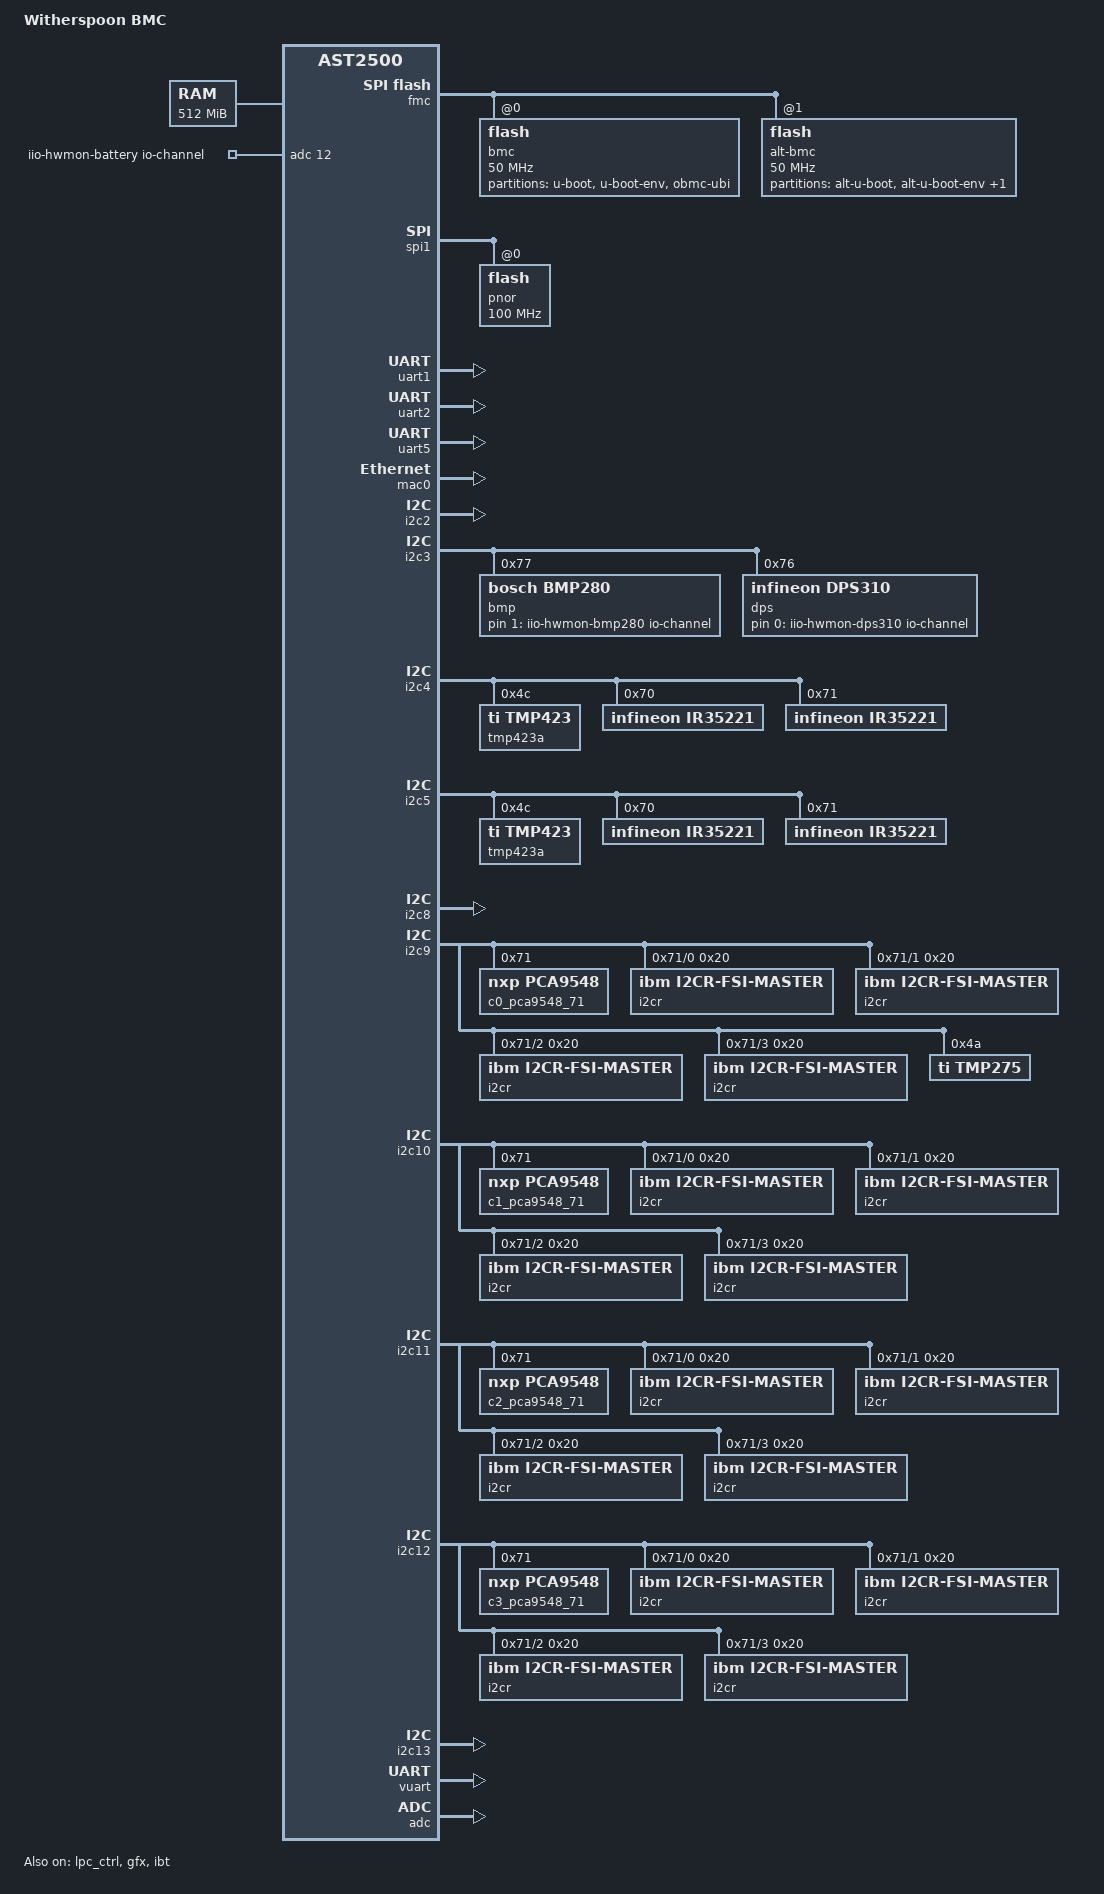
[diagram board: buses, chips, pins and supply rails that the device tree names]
// SPDX-License-Identifier: GPL-2.0+
/dts-v1/;
#include "aspeed-g5.dtsi"
#include <dt-bindings/gpio/aspeed-gpio.h>
#include <dt-bindings/leds/leds-pca955x.h>

/ {
	model = "Witherspoon BMC";
	compatible = "ibm,witherspoon-bmc", "aspeed,ast2500";

	aliases {
		i2c90 = &c0_pca9548_71_c0;
		i2c91 = &c0_pca9548_71_c1;
		i2c92 = &c0_pca9548_71_c2;
		i2c93 = &c0_pca9548_71_c3;
		i2c94 = &c0_pca9548_71_c4;
		i2c95 = &c0_pca9548_71_c5;
		i2c96 = &c0_pca9548_71_c6;
		i2c97 = &c0_pca9548_71_c7;

		i2c100 = &c1_pca9548_71_c0;
		i2c101 = &c1_pca9548_71_c1;
		i2c102 = &c1_pca9548_71_c2;
		i2c103 = &c1_pca9548_71_c3;
		i2c104 = &c1_pca9548_71_c4;
		i2c105 = &c1_pca9548_71_c5;
		i2c106 = &c1_pca9548_71_c6;
		i2c107 = &c1_pca9548_71_c7;

		i2c110 = &c2_pca9548_71_c0;
		i2c111 = &c2_pca9548_71_c1;
		i2c112 = &c2_pca9548_71_c2;
		i2c113 = &c2_pca9548_71_c3;
		i2c114 = &c2_pca9548_71_c4;
		i2c115 = &c2_pca9548_71_c5;
		i2c116 = &c2_pca9548_71_c6;
		i2c117 = &c2_pca9548_71_c7;

		i2c120 = &c3_pca9548_71_c0;
		i2c121 = &c3_pca9548_71_c1;
		i2c122 = &c3_pca9548_71_c2;
		i2c123 = &c3_pca9548_71_c3;
		i2c124 = &c3_pca9548_71_c4;
		i2c125 = &c3_pca9548_71_c5;
		i2c126 = &c3_pca9548_71_c6;
		i2c127 = &c3_pca9548_71_c7;

		scom90 = &scom90;
		scom91 = &scom91;
		scom92 = &scom92;
		scom93 = &scom93;
		scom100 = &scom100;
		scom101 = &scom101;
		scom102 = &scom102;
		scom103 = &scom103;
		scom110 = &scom110;
		scom111 = &scom111;
		scom112 = &scom112;
		scom113 = &scom113;
		scom120 = &scom120;
		scom121 = &scom121;
		scom122 = &scom122;
		scom123 = &scom123;

		sbefifo90 = &sbefifo90;
		sbefifo91 = &sbefifo91;
		sbefifo92 = &sbefifo92;
		sbefifo93 = &sbefifo93;
		sbefifo100 = &sbefifo100;
		sbefifo101 = &sbefifo101;
		sbefifo102 = &sbefifo102;
		sbefifo103 = &sbefifo103;
		sbefifo110 = &sbefifo110;
		sbefifo111 = &sbefifo111;
		sbefifo112 = &sbefifo112;
		sbefifo113 = &sbefifo113;
		sbefifo120 = &sbefifo120;
		sbefifo121 = &sbefifo121;
		sbefifo122 = &sbefifo122;
		sbefifo123 = &sbefifo123;
	};

	chosen {
		stdout-path = &uart5;
		bootargs = "console=ttyS4,115200 earlycon";
	};

	memory@80000000 {
		reg = <0x80000000 0x20000000>;
	};

	reserved-memory {
		#address-cells = <1>;
		#size-cells = <1>;
		ranges;

		flash_memory: region@98000000 {
			no-map;
			reg = <0x98000000 0x04000000>; /* 64M */
		};

		vga_memory: region@9f000000 {
			no-map;
			compatible = "shared-dma-pool";
			reg = <0x9f000000 0x01000000>; /* 16M */
		};

		gfx_memory: framebuffer {
			size = <0x01000000>;
			alignment = <0x01000000>;
			compatible = "shared-dma-pool";
			reusable;
		};

		video_engine_memory: jpegbuffer {
			size = <0x02000000>;	/* 32MM */
			alignment = <0x01000000>;
			compatible = "shared-dma-pool";
			reusable;
		};
	};

	iio-hwmon-battery {
		compatible = "iio-hwmon";
		io-channels = <&adc 12>;
	};

	iio-hwmon-dps310 {
		compatible = "iio-hwmon";
		io-channels = <&dps 0>;
	};

	iio-hwmon-bmp280 {
		compatible = "iio-hwmon";
		io-channels = <&bmp 1>;
	};

};

&gpio {
	gpio-line-names =
	/*A0-A7*/	"","cfam-reset","","","","","fsi-mux","",
	/*B0-B7*/	"","","","","","air-water","","",
	/*C0-C7*/	"","","","","","","","",
	/*D0-D7*/	"fsi-enable","","","","","","","",
	/*E0-E7*/	"fsi-data","","","","","","","",
	/*F0-F7*/	"","","","","","","","",
	/*G0-G7*/	"","","","","","","","",
	/*H0-H7*/	"","","","","","","","",
	/*I0-I7*/	"","","","","","","","",
	/*J0-J7*/	"","","checkstop","","","","","",
	/*K0-K7*/	"","","","","","","","",
	/*L0-L7*/	"","","","","","","","",
	/*M0-M7*/	"","","","","","","","",
	/*N0-N7*/	"presence-ps1","","led-rear-fault","led-rear-power",
		        "led-rear-id","","","",
	/*O0-O7*/	"","","","","","","","",
	/*P0-P7*/	"","","","","","","","presence-ps0",
	/*Q0-Q7*/	"","","","","","","","",
	/*R0-R7*/	"","","fsi-trans","","","power-button","","",
	/*S0-S7*/	"","","","","","","","",
	/*T0-T7*/	"","","","","","","","",
	/*U0-U7*/	"","","","","","","","",
	/*V0-V7*/	"","","","","","","","",
	/*W0-W7*/	"","","","","","","","",
	/*X0-X7*/	"","","","","","","","",
	/*Y0-Y7*/	"","","","","","","","",
	/*Z0-Z7*/	"","","","","","","","",
	/*AA0-AA7*/	"fsi-clock","","","","","","","",
	/*AB0-AB7*/	"","","","","","","","",
	/*AC0-AC7*/	"","","","","","","","";
};

&fmc {
	status = "okay";

	flash@0 {
		status = "okay";
		label = "bmc";
		m25p,fast-read;
		spi-max-frequency = <50000000>;

		partitions {
			#address-cells = < 1 >;
			#size-cells = < 1 >;
			compatible = "fixed-partitions";
			u-boot@0 {
				reg = < 0 0x60000 >;
				label = "u-boot";
			};
			u-boot-env@60000 {
				reg = < 0x60000 0x20000 >;
				label = "u-boot-env";
			};
			obmc-ubi@80000 {
				reg = < 0x80000 0x1F80000 >;
				label = "obmc-ubi";
			};
		};
	};

	flash@1 {
		status = "okay";
		label = "alt-bmc";
		m25p,fast-read;
		spi-max-frequency = <50000000>;

		partitions {
			#address-cells = < 1 >;
			#size-cells = < 1 >;
			compatible = "fixed-partitions";
			u-boot@0 {
				reg = < 0 0x60000 >;
				label = "alt-u-boot";
			};
			u-boot-env@60000 {
				reg = < 0x60000 0x20000 >;
				label = "alt-u-boot-env";
			};
			obmc-ubi@80000 {
				reg = < 0x80000 0x1F80000 >;
				label = "alt-obmc-ubi";
			};
		};
	};
};

&spi1 {
	status = "okay";
	pinctrl-names = "default";
	pinctrl-0 = <&pinctrl_spi1_default>;

	flash@0 {
		status = "okay";
		label = "pnor";
		m25p,fast-read;
		spi-max-frequency = <100000000>;
	};
};

&uart1 {
	/* Rear RS-232 connector */
	status = "okay";
	pinctrl-names = "default";
	pinctrl-0 = <&pinctrl_txd1_default
			&pinctrl_rxd1_default
			&pinctrl_nrts1_default
			&pinctrl_ndtr1_default
			&pinctrl_ndsr1_default
			&pinctrl_ncts1_default
			&pinctrl_ndcd1_default
			&pinctrl_nri1_default>;
};

&uart2 {
	/* APSS */
	status = "okay";
	pinctrl-names = "default";
	pinctrl-0 = <&pinctrl_txd2_default &pinctrl_rxd2_default>;
};

&uart5 {
	status = "okay";
};

&lpc_ctrl {
	status = "okay";
	memory-region = <&flash_memory>;
	flash = <&spi1>;
};

&mac0 {
	status = "okay";
	pinctrl-names = "default";
	pinctrl-0 = <&pinctrl_rmii1_default>;
	clocks = <&syscon ASPEED_CLK_GATE_MAC1CLK>,
		 <&syscon ASPEED_CLK_MAC1RCLK>;
	clock-names = "MACCLK", "RCLK";
	use-ncsi;
};

&i2c2 {
	status = "okay";
};

&i2c3 {
	status = "okay";

	bmp: bmp280@77 {
		compatible = "bosch,bmp280";
		reg = <0x77>;
		#io-channel-cells = <1>;
	};

	dps: dps310@76 {
		compatible = "infineon,dps310";
		reg = <0x76>;
		#io-channel-cells = <0>;
	};
};

&i2c4 {
	status = "okay";

	tmp423a@4c {
		compatible = "ti,tmp423";
		reg = <0x4c>;
	};

	ir35221@70 {
		compatible = "infineon,ir35221";
		reg = <0x70>;
	};

	ir35221@71 {
		compatible = "infineon,ir35221";
		reg = <0x71>;
	};
};


&i2c5 {
	status = "okay";

	tmp423a@4c {
		compatible = "ti,tmp423";
		reg = <0x4c>;
	};

	ir35221@70 {
		compatible = "infineon,ir35221";
		reg = <0x70>;
	};

	ir35221@71 {
		compatible = "infineon,ir35221";
		reg = <0x71>;
	};
};

&i2c8 {
	status = "okay";
};

&i2c9 {
	status = "okay";

	c0_pca9548_71: mux@71 {
		compatible = "nxp,pca9548";
		reg = <0x71>;
		#address-cells = <1>;
		#size-cells = <0>;
		i2c-mux-idle-disconnect;

		c0_pca9548_71_c0: i2c@0 {
			#address-cells = <1>;
			#size-cells = <0>;
			reg = <0>;

			i2cr@20 {
				compatible = "ibm,i2cr-fsi-master";
				reg = <0x20>;
				#address-cells = <2>;
				#size-cells = <0>;

				cfam@0,0 {
					reg = <0 0>;
					#address-cells = <1>;
					#size-cells = <1>;
					chip-id = <0>;

					scom90: scom@1000 {
						compatible = "ibm,i2cr-scom";
						reg = <0x1000 0x400>;
					};

					sbefifo90: sbefifo@2400 {
						compatible = "ibm,p9-sbefifo";
						reg = <0x2400 0x400>;
						#address-cells = <1>;
						#size-cells = <0>;
					};
				};
			};
		};
		c0_pca9548_71_c1: i2c@1 {
			#address-cells = <1>;
			#size-cells = <0>;
			reg = <1>;

			i2cr@20 {
				compatible = "ibm,i2cr-fsi-master";
				reg = <0x20>;
				#address-cells = <2>;
				#size-cells = <0>;

				cfam@0,0 {
					reg = <0 0>;
					#address-cells = <1>;
					#size-cells = <1>;
					chip-id = <0>;

					scom91: scom@1000 {
						compatible = "ibm,i2cr-scom";
						reg = <0x1000 0x400>;
					};

					sbefifo91: sbefifo@2400 {
						compatible = "ibm,p9-sbefifo";
						reg = <0x2400 0x400>;
						#address-cells = <1>;
						#size-cells = <0>;
					};
				};
			};
		};
		c0_pca9548_71_c2: i2c@2 {
			#address-cells = <1>;
			#size-cells = <0>;
			reg = <2>;

			i2cr@20 {
				compatible = "ibm,i2cr-fsi-master";
				reg = <0x20>;
				#address-cells = <2>;
				#size-cells = <0>;

				cfam@0,0 {
					reg = <0 0>;
					#address-cells = <1>;
					#size-cells = <1>;
					chip-id = <0>;

					scom92: scom@1000 {
						compatible = "ibm,i2cr-scom";
						reg = <0x1000 0x400>;
					};

					sbefifo92: sbefifo@2400 {
						compatible = "ibm,p9-sbefifo";
						reg = <0x2400 0x400>;
						#address-cells = <1>;
						#size-cells = <0>;
					};
				};
			};
		};
		c0_pca9548_71_c3: i2c@3 {
			#address-cells = <1>;
			#size-cells = <0>;
			reg = <3>;

			i2cr@20 {
				compatible = "ibm,i2cr-fsi-master";
				reg = <0x20>;
				#address-cells = <2>;
				#size-cells = <0>;

				cfam@0,0 {
					reg = <0 0>;
					#address-cells = <1>;
					#size-cells = <1>;
					chip-id = <0>;

					scom93: scom@1000 {
						compatible = "ibm,i2cr-scom";
						reg = <0x1000 0x400>;
					};

					sbefifo93: sbefifo@2400 {
						compatible = "ibm,p9-sbefifo";
						reg = <0x2400 0x400>;
						#address-cells = <1>;
						#size-cells = <0>;
					};
				};
			};
		};
		c0_pca9548_71_c4: i2c@4 {
			#address-cells = <1>;
			#size-cells = <0>;
			reg = <4>;
		};
		c0_pca9548_71_c5: i2c@5 {
			#address-cells = <1>;
			#size-cells = <0>;
			reg = <5>;
		};
		c0_pca9548_71_c6: i2c@6 {
			#address-cells = <1>;
			#size-cells = <0>;
			reg = <6>;
		};
		c0_pca9548_71_c7: i2c@7 {
			#address-cells = <1>;
			#size-cells = <0>;
			reg = <7>;
		};
	};

	tmp275@4a {
		compatible = "ti,tmp275";
		reg = <0x4a>;
	};
};

&i2c10 {
	status = "okay";

	c1_pca9548_71: mux@71 {
		compatible = "nxp,pca9548";
		reg = <0x71>;
		#address-cells = <1>;
		#size-cells = <0>;
		i2c-mux-idle-disconnect;

		c1_pca9548_71_c0: i2c@0 {
			#address-cells = <1>;
			#size-cells = <0>;
			reg = <0>;

			i2cr@20 {
				compatible = "ibm,i2cr-fsi-master";
				reg = <0x20>;
				#address-cells = <2>;
				#size-cells = <0>;

				cfam@0,0 {
					reg = <0 0>;
					#address-cells = <1>;
					#size-cells = <1>;
					chip-id = <0>;

					scom100: scom@1000 {
						compatible = "ibm,i2cr-scom";
						reg = <0x1000 0x400>;
					};

					sbefifo100: sbefifo@2400 {
						compatible = "ibm,p9-sbefifo";
						reg = <0x2400 0x400>;
						#address-cells = <1>;
						#size-cells = <0>;
					};
				};
			};
		};
		c1_pca9548_71_c1: i2c@1 {
			#address-cells = <1>;
			#size-cells = <0>;
			reg = <1>;

			i2cr@20 {
				compatible = "ibm,i2cr-fsi-master";
				reg = <0x20>;
				#address-cells = <2>;
				#size-cells = <0>;

				cfam@0,0 {
					reg = <0 0>;
					#address-cells = <1>;
					#size-cells = <1>;
					chip-id = <0>;

					scom101: scom@1000 {
						compatible = "ibm,i2cr-scom";
						reg = <0x1000 0x400>;
					};

					sbefifo101: sbefifo@2400 {
						compatible = "ibm,p9-sbefifo";
						reg = <0x2400 0x400>;
						#address-cells = <1>;
						#size-cells = <0>;
					};
				};
			};
		};
		c1_pca9548_71_c2: i2c@2 {
			#address-cells = <1>;
			#size-cells = <0>;
			reg = <2>;

			i2cr@20 {
				compatible = "ibm,i2cr-fsi-master";
				reg = <0x20>;
				#address-cells = <2>;
				#size-cells = <0>;

				cfam@0,0 {
					reg = <0 0>;
					#address-cells = <1>;
					#size-cells = <1>;
					chip-id = <0>;

					scom102: scom@1000 {
						compatible = "ibm,i2cr-scom";
						reg = <0x1000 0x400>;
					};

					sbefifo102: sbefifo@2400 {
						compatible = "ibm,p9-sbefifo";
						reg = <0x2400 0x400>;
						#address-cells = <1>;
						#size-cells = <0>;
					};
				};
			};
		};
		c1_pca9548_71_c3: i2c@3 {
			#address-cells = <1>;
			#size-cells = <0>;
			reg = <3>;

			i2cr@20 {
				compatible = "ibm,i2cr-fsi-master";
				reg = <0x20>;
				#address-cells = <2>;
				#size-cells = <0>;

				cfam@0,0 {
					reg = <0 0>;
					#address-cells = <1>;
					#size-cells = <1>;
					chip-id = <0>;

					scom103: scom@1000 {
						compatible = "ibm,i2cr-scom";
						reg = <0x1000 0x400>;
					};

					sbefifo103: sbefifo@2400 {
						compatible = "ibm,p9-sbefifo";
						reg = <0x2400 0x400>;
						#address-cells = <1>;
						#size-cells = <0>;
					};
				};
			};
		};
		c1_pca9548_71_c4: i2c@4 {
			#address-cells = <1>;
			#size-cells = <0>;
			reg = <4>;
		};
		c1_pca9548_71_c5: i2c@5 {
			#address-cells = <1>;
			#size-cells = <0>;
			reg = <5>;
		};
		c1_pca9548_71_c6: i2c@6 {
			#address-cells = <1>;
			#size-cells = <0>;
			reg = <6>;
		};
		c1_pca9548_71_c7: i2c@7 {
			#address-cells = <1>;
			#size-cells = <0>;
			reg = <7>;
		};
	};
};

&i2c11 {
	status = "okay";

	c2_pca9548_71: mux@71 {
		compatible = "nxp,pca9548";
		reg = <0x71>;
		#address-cells = <1>;
		#size-cells = <0>;
		i2c-mux-idle-disconnect;

		c2_pca9548_71_c0: i2c@0 {
			#address-cells = <1>;
			#size-cells = <0>;
			reg = <0>;

			i2cr@20 {
				compatible = "ibm,i2cr-fsi-master";
				reg = <0x20>;
				#address-cells = <2>;
				#size-cells = <0>;

				cfam@0,0 {
					reg = <0 0>;
					#address-cells = <1>;
					#size-cells = <1>;
					chip-id = <0>;

					scom110: scom@1000 {
						compatible = "ibm,i2cr-scom";
						reg = <0x1000 0x400>;
					};

					sbefifo110: sbefifo@2400 {
						compatible = "ibm,p9-sbefifo";
						reg = <0x2400 0x400>;
						#address-cells = <1>;
						#size-cells = <0>;
					};
				};
			};
		};
		c2_pca9548_71_c1: i2c@1 {
			#address-cells = <1>;
			#size-cells = <0>;
			reg = <1>;

			i2cr@20 {
				compatible = "ibm,i2cr-fsi-master";
				reg = <0x20>;
				#address-cells = <2>;
				#size-cells = <0>;

				cfam@0,0 {
					reg = <0 0>;
					#address-cells = <1>;
					#size-cells = <1>;
					chip-id = <0>;

					scom111: scom@1000 {
						compatible = "ibm,i2cr-scom";
						reg = <0x1000 0x400>;
					};

					sbefifo111: sbefifo@2400 {
						compatible = "ibm,p9-sbefifo";
						reg = <0x2400 0x400>;
						#address-cells = <1>;
						#size-cells = <0>;
					};
				};
			};
		};
		c2_pca9548_71_c2: i2c@2 {
			#address-cells = <1>;
			#size-cells = <0>;
			reg = <2>;

			i2cr@20 {
				compatible = "ibm,i2cr-fsi-master";
				reg = <0x20>;
				#address-cells = <2>;
				#size-cells = <0>;

				cfam@0,0 {
					reg = <0 0>;
					#address-cells = <1>;
					#size-cells = <1>;
					chip-id = <0>;

					scom112: scom@1000 {
						compatible = "ibm,i2cr-scom";
						reg = <0x1000 0x400>;
					};

					sbefifo112: sbefifo@2400 {
						compatible = "ibm,p9-sbefifo";
						reg = <0x2400 0x400>;
						#address-cells = <1>;
						#size-cells = <0>;
					};
				};
			};
		};
		c2_pca9548_71_c3: i2c@3 {
			#address-cells = <1>;
			#size-cells = <0>;
			reg = <3>;

			i2cr@20 {
				compatible = "ibm,i2cr-fsi-master";
				reg = <0x20>;
				#address-cells = <2>;
				#size-cells = <0>;

				cfam@0,0 {
					reg = <0 0>;
					#address-cells = <1>;
					#size-cells = <1>;
					chip-id = <0>;

					scom113: scom@1000 {
						compatible = "ibm,i2cr-scom";
						reg = <0x1000 0x400>;
					};

					sbefifo113: sbefifo@2400 {
						compatible = "ibm,p9-sbefifo";
						reg = <0x2400 0x400>;
						#address-cells = <1>;
						#size-cells = <0>;
					};
				};
			};
		};
		c2_pca9548_71_c4: i2c@4 {
			#address-cells = <1>;
			#size-cells = <0>;
			reg = <4>;
		};
		c2_pca9548_71_c5: i2c@5 {
			#address-cells = <1>;
			#size-cells = <0>;
			reg = <5>;
		};
		c2_pca9548_71_c6: i2c@6 {
			#address-cells = <1>;
			#size-cells = <0>;
			reg = <6>;
		};
		c2_pca9548_71_c7: i2c@7 {
			#address-cells = <1>;
			#size-cells = <0>;
			reg = <7>;
		};
	};
};

&i2c12 {
	status = "okay";

	c3_pca9548_71: mux@71 {
		compatible = "nxp,pca9548";
		reg = <0x71>;
		#address-cells = <1>;
		#size-cells = <0>;
		i2c-mux-idle-disconnect;

		c3_pca9548_71_c0: i2c@0 {
			#address-cells = <1>;
			#size-cells = <0>;
			reg = <0>;

			i2cr@20 {
				compatible = "ibm,i2cr-fsi-master";
				reg = <0x20>;
				#address-cells = <2>;
				#size-cells = <0>;

				cfam@0,0 {
					reg = <0 0>;
					#address-cells = <1>;
					#size-cells = <1>;
					chip-id = <0>;

					scom120: scom@1000 {
						compatible = "ibm,i2cr-scom";
						reg = <0x1000 0x400>;
					};

					sbefifo120: sbefifo@2400 {
						compatible = "ibm,p9-sbefifo";
						reg = <0x2400 0x400>;
						#address-cells = <1>;
						#size-cells = <0>;
					};
				};
			};
		};
		c3_pca9548_71_c1: i2c@1 {
			#address-cells = <1>;
			#size-cells = <0>;
			reg = <1>;

			i2cr@20 {
				compatible = "ibm,i2cr-fsi-master";
				reg = <0x20>;
				#address-cells = <2>;
				#size-cells = <0>;

				cfam@0,0 {
					reg = <0 0>;
					#address-cells = <1>;
					#size-cells = <1>;
					chip-id = <0>;

					scom121: scom@1000 {
						compatible = "ibm,i2cr-scom";
						reg = <0x1000 0x400>;
					};

					sbefifo121: sbefifo@2400 {
						compatible = "ibm,p9-sbefifo";
						reg = <0x2400 0x400>;
						#address-cells = <1>;
						#size-cells = <0>;
					};
				};
			};
		};
		c3_pca9548_71_c2: i2c@2 {
			#address-cells = <1>;
			#size-cells = <0>;
			reg = <2>;

			i2cr@20 {
				compatible = "ibm,i2cr-fsi-master";
				reg = <0x20>;
				#address-cells = <2>;
				#size-cells = <0>;

				cfam@0,0 {
					reg = <0 0>;
					#address-cells = <1>;
					#size-cells = <1>;
					chip-id = <0>;

					scom122: scom@1000 {
						compatible = "ibm,i2cr-scom";
						reg = <0x1000 0x400>;
					};

					sbefifo122: sbefifo@2400 {
						compatible = "ibm,p9-sbefifo";
						reg = <0x2400 0x400>;
						#address-cells = <1>;
						#size-cells = <0>;
					};
				};
			};
		};
		c3_pca9548_71_c3: i2c@3 {
			#address-cells = <1>;
			#size-cells = <0>;
			reg = <3>;

			i2cr@20 {
				compatible = "ibm,i2cr-fsi-master";
				reg = <0x20>;
				#address-cells = <2>;
				#size-cells = <0>;

				cfam@0,0 {
					reg = <0 0>;
					#address-cells = <1>;
					#size-cells = <1>;
					chip-id = <0>;

					scom123: scom@1000 {
						compatible = "ibm,i2cr-scom";
						reg = <0x1000 0x400>;
					};

					sbefifo123: sbefifo@2400 {
						compatible = "ibm,p9-sbefifo";
						reg = <0x2400 0x400>;
						#address-cells = <1>;
						#size-cells = <0>;
					};
				};
			};
		};
		c3_pca9548_71_c4: i2c@4 {
			#address-cells = <1>;
			#size-cells = <0>;
			reg = <4>;
		};
		c3_pca9548_71_c5: i2c@5 {
			#address-cells = <1>;
			#size-cells = <0>;
			reg = <5>;
		};
		c3_pca9548_71_c6: i2c@6 {
			#address-cells = <1>;
			#size-cells = <0>;
			reg = <6>;
		};
		c3_pca9548_71_c7: i2c@7 {
			#address-cells = <1>;
			#size-cells = <0>;
			reg = <7>;
		};
	};
};

&i2c13 {
	status = "okay";
};

&vuart {
	status = "okay";
};

&gfx {
	status = "okay";
	memory-region = <&gfx_memory>;
};

&pinctrl {
	aspeed,external-nodes = <&gfx &lhc>;
};

&wdt1 {
	aspeed,reset-type = "none";
	aspeed,external-signal;
	aspeed,ext-push-pull;
	aspeed,ext-active-high;

	pinctrl-names = "default";
	pinctrl-0 = <&pinctrl_wdtrst1_default>;
};

&wdt2 {
	aspeed,alt-boot;
};

&ibt {
	status = "okay";
};

&adc {
	status = "okay";
};
